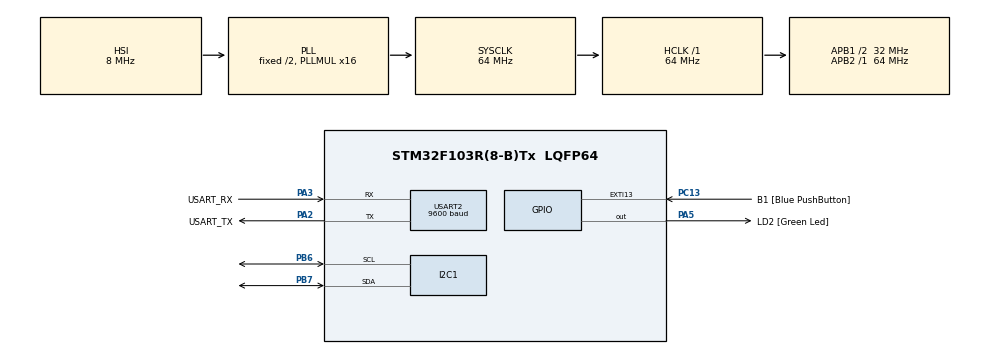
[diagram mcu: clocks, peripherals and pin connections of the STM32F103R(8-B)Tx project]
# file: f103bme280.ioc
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Dma.I2C1_RX.0.Direction=DMA_PERIPH_TO_MEMORY
Dma.I2C1_RX.0.Instance=DMA1_Channel7
Dma.I2C1_RX.0.MemDataAlignment=DMA_MDATAALIGN_BYTE
Dma.I2C1_RX.0.MemInc=DMA_MINC_ENABLE
Dma.I2C1_RX.0.Mode=DMA_NORMAL
Dma.I2C1_RX.0.PeriphDataAlignment=DMA_PDATAALIGN_BYTE
Dma.I2C1_RX.0.PeriphInc=DMA_PINC_DISABLE
Dma.I2C1_RX.0.Priority=DMA_PRIORITY_LOW
Dma.I2C1_TX.1.Direction=DMA_MEMORY_TO_PERIPH
Dma.I2C1_TX.1.Instance=DMA1_Channel6
Dma.I2C1_TX.1.MemDataAlignment=DMA_MDATAALIGN_BYTE
Dma.I2C1_TX.1.MemInc=DMA_MINC_ENABLE
Dma.I2C1_TX.1.Mode=DMA_NORMAL
Dma.I2C1_TX.1.PeriphDataAlignment=DMA_PDATAALIGN_BYTE
Dma.I2C1_TX.1.PeriphInc=DMA_PINC_DISABLE
Dma.I2C1_TX.1.Priority=DMA_PRIORITY_LOW
Dma.Request0=I2C1_RX
Dma.Request1=I2C1_TX
I2C1.I2C_Mode=I2C_Standard
Mcu.Family=STM32F1
Mcu.Name=STM32F103R(8-B)Tx
Mcu.Package=LQFP64
NVIC.DMA1_Channel6_IRQn=true\:0\:0\:false\:false\:true\:false\:true
NVIC.DMA1_Channel7_IRQn=true\:0\:0\:false\:false\:true\:false\:true
NVIC.EXTI15_10_IRQn=true\:0\:0\:false\:false\:true\:true\:true
NVIC.I2C1_ER_IRQn=true\:0\:0\:false\:false\:true\:true\:true
NVIC.I2C1_EV_IRQn=true\:0\:0\:false\:false\:true\:true\:true
NVIC.PriorityGroup=NVIC_PRIORITYGROUP_4
PA13.GPIO_Label=TMS
PA13.Mode=Serial_Wire
PA13.Signal=SYS_JTMS-SWDIO
PA14.GPIO_Label=TCK
PA14.Mode=Serial_Wire
PA14.Signal=SYS_JTCK-SWCLK
PA2.GPIO_Label=USART_TX
PA2.GPIO_Mode=GPIO_MODE_AF_PP
PA2.GPIO_PuPd=GPIO_NOPULL
PA2.GPIO_Speed=GPIO_SPEED_FREQ_LOW
PA2.Mode=Asynchronous
PA2.Signal=USART2_TX
PA3.GPIO_Label=USART_RX
PA3.GPIO_Mode=GPIO_MODE_AF_PP
PA3.GPIO_PuPd=GPIO_NOPULL
PA3.GPIO_Speed=GPIO_SPEED_FREQ_LOW
PA3.Mode=Asynchronous
PA3.Signal=USART2_RX
PA5.GPIO_Label=LD2 [Green Led]
PA5.GPIO_ModeDefaultOutputPP=GPIO_MODE_OUTPUT_PP
PA5.GPIO_PuPd=GPIO_NOPULL
PA5.GPIO_Speed=GPIO_SPEED_FREQ_LOW
PA5.Signal=GPIO_Output
PB3.GPIO_Label=SWO
PB3.Signal=SYS_JTDO-TRACESWO
PB6.Mode=I2C
PB6.Signal=I2C1_SCL
PB7.Mode=I2C
PB7.Signal=I2C1_SDA
PC13-TAMPER-RTC.GPIO_Label=B1 [Blue PushButton]
PC13-TAMPER-RTC.GPIO_PuPd=GPIO_NOPULL
PC13-TAMPER-RTC.Signal=GPXTI13
PC14-OSC32_IN.Mode=LSE-External-Oscillator
PC14-OSC32_IN.Signal=RCC_OSC32_IN
PC15-OSC32_OUT.Mode=LSE-External-Oscillator
PC15-OSC32_OUT.Signal=RCC_OSC32_OUT
PD0-OSC_IN.Mode=HSE-External-Clock-Source
PD0-OSC_IN.Signal=RCC_OSC_IN
PD1-OSC_OUT.Mode=HSE-External-Clock-Source
PD1-OSC_OUT.Signal=RCC_OSC_OUT
ProjectManager.HeapSize=0x200
ProjectManager.StackSize=0x400
ProjectManager.TargetToolchain=TrueSTUDIO
RCC.AHBFreq_Value=64000000
RCC.APB1CLKDivider=RCC_HCLK_DIV2
RCC.APB1Freq_Value=32000000
RCC.APB1TimFreq_Value=64000000
RCC.APB2Freq_Value=64000000
RCC.APB2TimFreq_Value=64000000
RCC.HCLKFreq_Value=64000000
RCC.PLLMUL=RCC_PLL_MUL16
RCC.RTCClockSelection=RCC_RTCCLKSOURCE_LSE
RCC.SYSCLKFreq_VALUE=64000000
RCC.SYSCLKSource=RCC_SYSCLKSOURCE_PLLCLK
RCC.USBFreq_Value=64000000
TIM3.Period=0xFFFF
TIM3.Prescaler=63
USART2.BaudRate=9600
USART2.VirtualMode=VM_ASYNC
VP_TIM3_VS_ClockSourceINT.Mode=Internal
board=NUCLEO-F103RB

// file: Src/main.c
/* USER CODE BEGIN Header */
/**
  ******************************************************************************
  * @file           : main.c
  * @brief          : Main program body
  ******************************************************************************
  * @attention
  *
  * <h2><center>&copy; Copyright (c) 2019 STMicroelectronics.
  * All rights reserved.</center></h2>
  *
  * This software component is licensed by ST under BSD 3-Clause license,
  * the "License"; You may not use this file except in compliance with the
  * License. You may obtain a copy of the License at:
  *                        opensource.org/licenses/BSD-3-Clause
  *
  ******************************************************************************
  */
/* USER CODE END Header */

#include "main.h"
#include "dma.h"
#include "i2c.h"
#include "tim.h"
#include "usart.h"
#include "gpio.h"

/* USER CODE BEGIN Includes */
#include "BMPXX80.h"
#include "delays.h"
/* USER CODE END Includes */

/* USER CODE BEGIN PV */
float temperature, huminidity;
int32_t pressure;

//float pressure, temperature, humidity;

uint16_t size;
uint8_t Data[256];
int test;

/* USER CODE END PV */

void SystemClock_Config(void);

/* USER CODE BEGIN 0 */
// HAL_UART_Transmit_DMA(&huart2,&myTab,13);
/* USER CODE END 0 */

int main(void)
{

  /* MCU Configuration--------------------------------------------------------*/

  /* Reset of all peripherals, Initializes the Flash interface and the Systick. */
  HAL_Init();

  /* Configure the system clock */
  SystemClock_Config();

  /* Initialize all configured peripherals */
  MX_GPIO_Init();
  MX_DMA_Init();
  MX_I2C1_Init();
  MX_USART2_UART_Init();
  MX_TIM3_Init();
  /* USER CODE BEGIN 2 */
  HAL_TIM_Base_Start(&htim3);
  test=5;

  BME280_Init(&hi2c1, BME280_TEMPERATURE_16BIT, BME280_PRESSURE_ULTRALOWPOWER, BME280_HUMINIDITY_STANDARD, BME280_NORMALMODE);
  test=10;
  BME280_SetConfig(BME280_STANDBY_MS_10, BME280_FILTER_OFF);

  /* USER CODE END 2 */

  /* Infinite loop */
  while (1)
  {

    /* USER CODE BEGIN 3 */

	  	BME280_ReadTemperatureAndPressureAndHuminidity(&temperature, &pressure, &huminidity);
//
	  	HAL_Delay(2000);
	  	test=19;
  }

  /* USER CODE END 3 */
}

void SystemClock_Config(void)
{
  RCC_OscInitTypeDef RCC_OscInitStruct = {0};
  RCC_ClkInitTypeDef RCC_ClkInitStruct = {0};

  /** Initializes the CPU, AHB and APB busses clocks
  */
  RCC_OscInitStruct.OscillatorType = RCC_OSCILLATORTYPE_HSI;
  RCC_OscInitStruct.HSIState = RCC_HSI_ON;
  RCC_OscInitStruct.HSICalibrationValue = RCC_HSICALIBRATION_DEFAULT;
  RCC_OscInitStruct.PLL.PLLState = RCC_PLL_ON;
  RCC_OscInitStruct.PLL.PLLSource = RCC_PLLSOURCE_HSI_DIV2;
  RCC_OscInitStruct.PLL.PLLMUL = RCC_PLL_MUL16;
  if (HAL_RCC_OscConfig(&RCC_OscInitStruct) != HAL_OK)
  {
    Error_Handler();
  }
  /** Initializes the CPU, AHB and APB busses clocks
  */
  RCC_ClkInitStruct.ClockType = RCC_CLOCKTYPE_HCLK|RCC_CLOCKTYPE_SYSCLK
                              |RCC_CLOCKTYPE_PCLK1|RCC_CLOCKTYPE_PCLK2;
  RCC_ClkInitStruct.SYSCLKSource = RCC_SYSCLKSOURCE_PLLCLK;
  RCC_ClkInitStruct.AHBCLKDivider = RCC_SYSCLK_DIV1;
  RCC_ClkInitStruct.APB1CLKDivider = RCC_HCLK_DIV2;
  RCC_ClkInitStruct.APB2CLKDivider = RCC_HCLK_DIV1;

  if (HAL_RCC_ClockConfig(&RCC_ClkInitStruct, FLASH_LATENCY_2) != HAL_OK)
  {
    Error_Handler();
  }
}

void Error_Handler(void)
{
}

/************************ (C) COPYRIGHT STMicroelectronics *****END OF FILE****/
